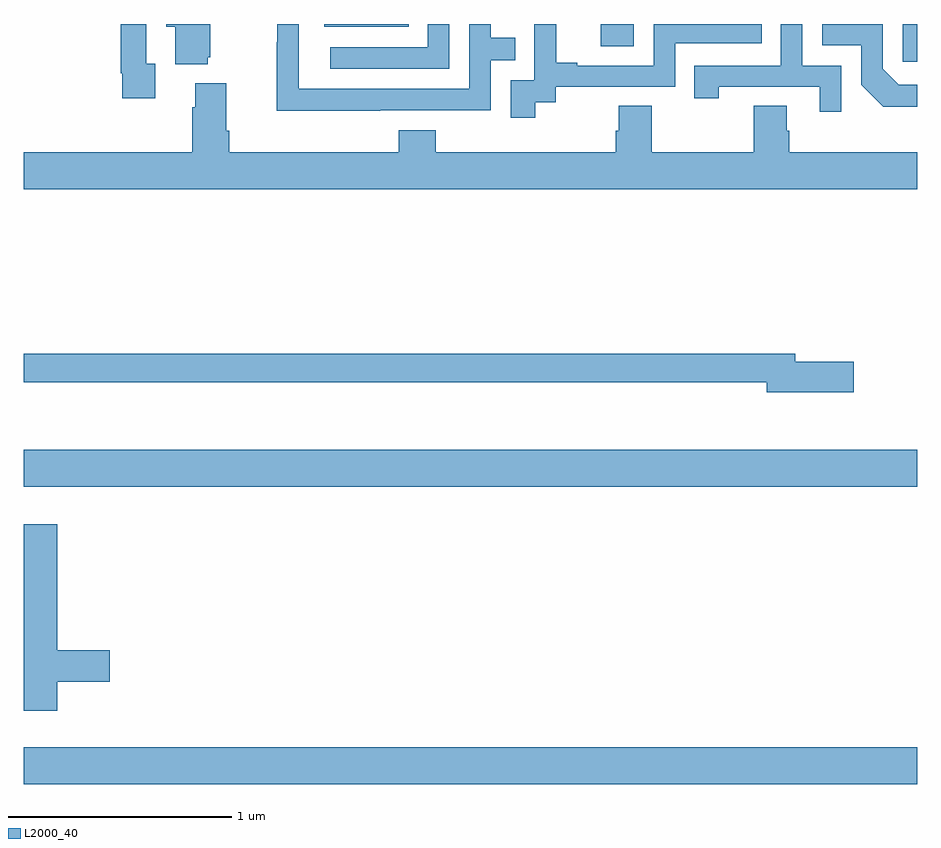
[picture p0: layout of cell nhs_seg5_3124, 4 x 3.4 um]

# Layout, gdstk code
import gdstk
lib = gdstk.Library(unit=1e-6, precision=1e-09)
def R(c, l, rs):  # rectangles x0, y0, x1, y1
    for r in rs: c.add(gdstk.rectangle(r[:2], r[2:], *l))
def P(c, l, *ps):  # polygons
    for p in ps: c.add(gdstk.Polygon(p, *l))
L2000_40 = (2000, 40)

nhs_seg5_3124 = lib.new_cell('nhs_seg5_3124')
R(nhs_seg5_3124, L2000_40, [(291,887.396,295,887.56), (291,888.728,295,888.892), (294.936,890.631,295,890.799), (293.583,890.7,293.73,890.799), (292.346,890.786,292.724,890.799)])
P(nhs_seg5_3124, L2000_40, [(291.824,890.649),(291.835,890.649),(291.835,890.799),(291.638,890.799),(291.638,890.786),(291.677,890.786),(291.677,890.618),(291.824,890.618)],
  [(291.589,890.622),(291.549,890.622),(291.549,890.799),(291.433,890.799),(291.433,890.578),(291.441,890.578),(291.441,890.466),(291.589,890.466)],
  [(292.595,890.412),(293.091,890.412),(293.091,890.637),(293.201,890.637),(293.201,890.738),(293.091,890.738),(293.091,890.799),(292.995,890.799),(292.995,890.508),(292.23,890.508),(292.23,890.799),(292.134,890.799),(292.134,890.717),(292.132,890.717),(292.132,890.411),(292.595,890.411)],
  [(292.905,890.799),(292.809,890.799),(292.809,890.694),(292.371,890.694),(292.371,890.598),(292.905,890.598)],
  [(293.29,890.449),(293.382,890.449),(293.382,890.517),(293.916,890.517),(293.916,890.712),(294.305,890.712),(294.305,890.799),(293.82,890.799),(293.82,890.613),(293.479,890.613),(293.479,890.626),(293.384,890.626),(293.384,890.799),(293.285,890.799),(293.285,890.777),(293.286,890.777),(293.286,890.547),(293.181,890.547),(293.181,890.379),(293.29,890.379)],
  [(295,890.526),(294.918,890.526),(294.846,890.598),(294.846,890.799),(294.576,890.799),(294.576,890.703),(294.75,890.703),(294.75,890.526),(294.848,890.429),(295,890.429)],
  [(294.66,890.613),(294.486,890.613),(294.486,890.799),(294.39,890.799),(294.39,890.613),(294.001,890.613),(294.001,890.466),(294.112,890.466),(294.112,890.517),(294.563,890.517),(294.563,890.406),(294.66,890.406)],
  [(295,890.224),(294.428,890.224),(294.428,890.322),(294.415,890.322),(294.415,890.432),(294.268,890.432),(294.268,890.224),(293.811,890.224),(293.811,890.432),(293.663,890.432),(293.663,890.322),(293.651,890.322),(293.651,890.224),(292.844,890.224),(292.844,890.323),(292.679,890.323),(292.679,890.224),(291.92,890.224),(291.92,890.32),(291.907,890.32),(291.907,890.533),(291.767,890.533),(291.767,890.426),(291.755,890.426),(291.755,890.224),(291,890.224),(291,890.06),(295,890.06)],
  [(294.715,889.286),(294.454,889.286),(294.454,889.322),(291,889.322),(291,889.194),(294.326,889.194),(294.326,889.151),(294.715,889.151)],
  [(291.149,887.854),(291.385,887.854),(291.385,887.996),(291.149,887.996),(291.149,888.559),(291,888.559),(291,887.724),(291.149,887.724)])

lib.write_gds('nhs_seg5_3124.gds')
